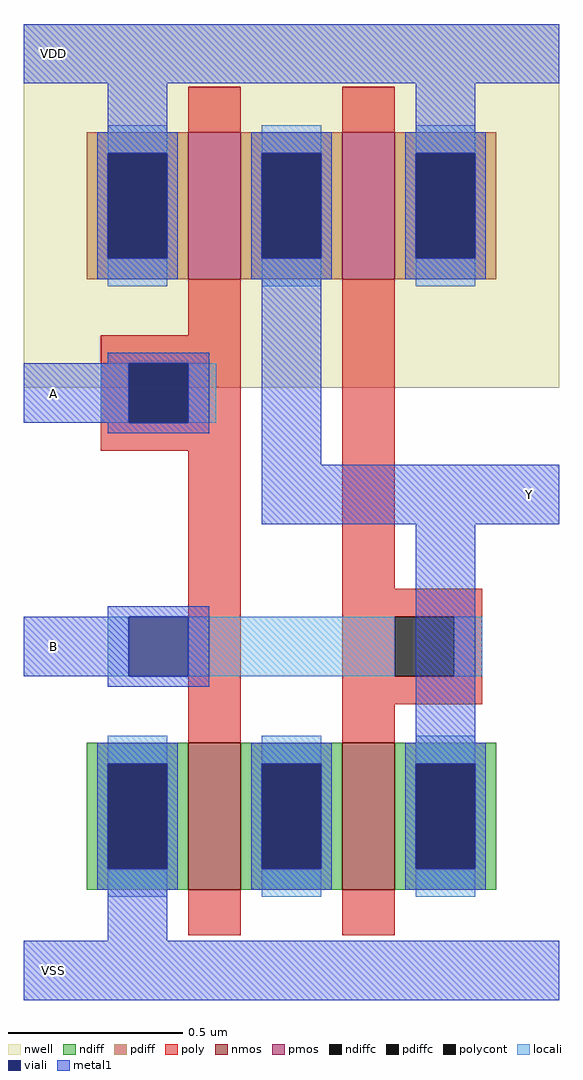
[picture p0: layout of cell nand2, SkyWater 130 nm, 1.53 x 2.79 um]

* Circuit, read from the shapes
.subckt nand2 A B VDD VSS Y
XM1 n1 A VSS VSUBS sky130_fd_pr__nfet_01v8 w=0.42 l=0.15
XM2 Y B n1 VSUBS sky130_fd_pr__nfet_01v8 w=0.42 l=0.15
XM3 Y A VDD n2 sky130_fd_pr__pfet_01v8 w=0.42 l=0.15
XM4 VDD B Y n2 sky130_fd_pr__pfet_01v8 w=0.42 l=0.15
.ends

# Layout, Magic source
magic
tech sky130A
magscale 1 2
<< poly >>
rect 94 471 124 477
rect 44 455 124 471
rect 44 421 60 455
rect 94 421 124 455
rect 44 405 124 421
rect 94 264 124 405
rect 182 326 212 477
rect 182 310 262 326
rect 182 276 212 310
rect 246 276 262 310
rect 182 264 262 276
rect 212 260 262 264
<< polycont >>
rect 60 421 94 455
rect 212 276 246 310
<< locali >>
rect 44 421 60 455
rect 94 421 110 455
rect 48 276 60 310
rect 94 276 212 310
rect 246 276 262 310
<< viali >>
rect 60 421 94 455
rect 60 276 94 310
<< metal1 >>
rect 0 615 306 649
rect 48 587 82 615
rect 224 587 258 615
rect 48 455 106 461
rect 0 421 60 455
rect 94 421 106 455
rect 48 415 106 421
rect 136 397 170 503
rect 136 363 306 397
rect 48 310 106 316
rect 0 276 60 310
rect 94 276 106 310
rect 48 270 106 276
rect 224 238 258 363
rect 48 125 82 154
rect 0 91 306 125
use sky130_fd_pr__nfet_01v8_A6LSUL  m1 ~/Desktop/FabRAM/FE/sram130/common
transform 1 0 109 0 1 196
box -73 -68 73 68
use sky130_fd_pr__nfet_01v8_A6LSUL  m2
transform 1 0 197 0 1 196
box -73 -68 73 68
use sky130_fd_pr__pfet_01v8_4Y88KP  m3 ~/Desktop/FabRAM/FE/sram130/common
transform 1 0 109 0 1 545
box -109 -104 109 104
use sky130_fd_pr__pfet_01v8_4Y88KP  m4
transform -1 0 197 0 1 545
box -109 -104 109 104
<< labels >>
rlabel metal1 0 615 34 649 0 VDD
rlabel metal1 0 421 34 455 0 A
rlabel metal1 0 276 34 310 0 B
rlabel metal1 0 91 34 125 0 VSS
rlabel metal1 272 363 306 397 0 Y
<< end >>

# cell sky130_fd_pr__nfet_01v8_A6LSUL: kit device sky130_fd_pr__nfet_01v8, w 0.420 l 0.150 m 1 nf 1 diffcov 100 polycov 100 guard 0 glc 0 grc 0 gtc 0 gbc 0 tbcov 100 rlcov 100 topc 0 botc 0 poverlap 0 doverlap 0 lmin 0.15 wmin 0.42 compatible {sky130_fd_pr__nfet_01v8 sky130_fd_pr__nfet_01v8_lvt sky130_fd_bs_flash__special_sonosfet_star sky130_fd_pr__nfet_g5v0d10v5 sky130_fd_pr__nfet_05v0_nvt sky130_fd_pr__nfet_03v3_nvt} full_metal 0 viasrc 100 viadrn 100 viagate 100 viagb 0 viagr 0 viagl 0 viagt 0

# cell sky130_fd_pr__pfet_01v8_4Y88KP: kit device sky130_fd_pr__pfet_01v8, w 0.42 l 0.15 m 1 nf 1 diffcov 100 polycov 100 guard 0 glc 0 grc 0 gtc 0 gbc 0 tbcov 100 rlcov 100 topc 0 botc 0 poverlap 0 doverlap 0 lmin 0.15 wmin 0.42 compatible {sky130_fd_pr__pfet_01v8 sky130_fd_pr__pfet_01v8_lvt sky130_fd_pr__pfet_01v8_hvt sky130_fd_pr__pfet_g5v0d10v5} full_metal 0 viasrc 100 viadrn 100 viagate 100 viagb 0 viagr 0 viagl 0 viagt 0
